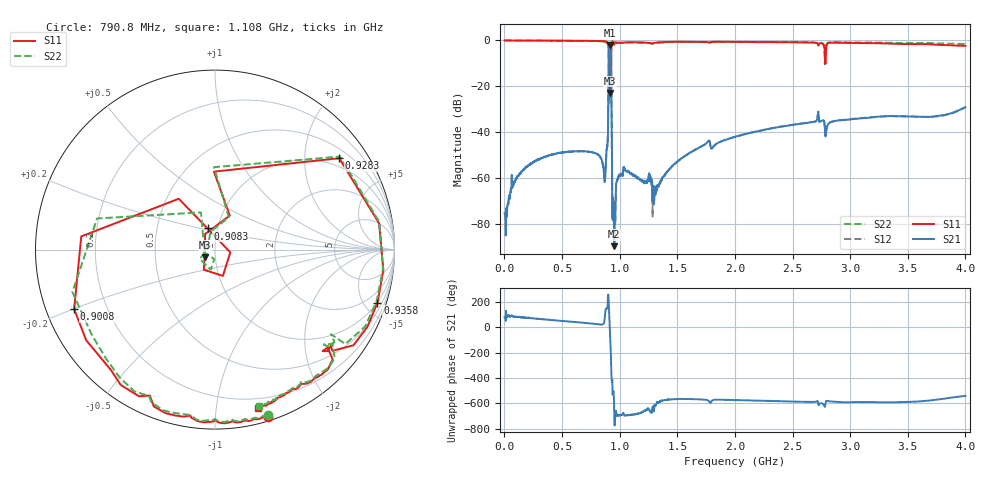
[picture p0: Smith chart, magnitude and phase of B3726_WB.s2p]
! Matrix data file written by TouchstoneData, EPCOS AG
! FILENAME: "B3726_WB.s2p"
! COMMENT: "PCB:2022 PIN:2/5 PORTEXT1:87.4 PORTEXT2:173."
! INFO: nport=2, nfreq=1601
! DATE: "Tue Dec 30 11:03:50 2008"
! USER: "Sergey Rostovtsev"
! port | pin | signal
!  1  |  2  |  in
!  2  |  5  |  out
# MHZ S MA R 50
! freq  magS11 angS11  magS21 angS21  magS12 angS12  magS22 angS22
!1.000000E+00  9.999882E-01 -9.369029E-02  2.588622E-02 1.196022E+01  2.554484E-02 1.219012E+01  1.003851E+00 -4.459481E-02
!3.499375E+00  1.000496E+00 -3.696470E-01  1.625159E-04 -5.556573E+00  1.659473E-04 -7.625253E+00  9.998649E-01 -3.415912E-01
!5.998750E+00  1.000496E+00 -6.066440E-01  1.120306E-05 -1.874271E+00  9.210822E-06 -3.625380E+01  1.000393E+00 -6.326915E-01
!8.498125E+00  9.994526E-01 -8.148454E-01  1.743931E-04 7.797031E+01  1.704065E-04 8.154558E+01  9.995445E-01 -8.341599E-01
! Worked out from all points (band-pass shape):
!   1601 points, 1 MHz to 4 GHz, reference 50 ohm
!   highest |S21| = -1.99 dB at 915.8 MHz (marker M1); lowest = -89.5 dB at 953.3 MHz (marker M2)
!   |S21| within 3 dB of the highest: 906.8 MHz to 924.4 MHz (17.63 MHz wide, 1.93 % of centre)
!   lowest |S11| = -22.8 dB at 918.3 MHz (marker M3), VSWR 1.16, Z = 44.4 - j3.88 ohm
!   |S11| at or under -10 dB: 906 MHz to 924.7 MHz (18.69 MHz wide, 2.04 % of centre); 2.785084 GHz to 2.785463 GHz (379.1 kHz wide, 0.0136 % of centre)
!   |S22| runs from -27.4 to 0.0 dB; largest |S21 - S12| = 0.0077
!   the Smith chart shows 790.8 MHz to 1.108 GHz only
!   S11 on the Smith chart (normalised r, x): 790.8 MHz: 0.03, -1.36; 900.8 MHz: 0.08, -0.20; 908.3 MHz: 0.90, +0.21; 928.3 MHz: 0.74, +2.88; 935.8 MHz: 0.96, -6.13; 1.108 GHz: 0.12, -1.30
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1  0.9995 -0.8  0.0001744 78.0  0.0001704 81.5  0.9995 -0.8
75.98125  0.998 -7.0  0.0006867 84.6  0.0006763 84.0  0.9984 -7.0
193.4519  0.9941 -17.6  0.001761 74.8  0.00175 75.0  0.9937 -17.3
668.3331  0.983 -59.1  0.003895 35.8  0.003874 35.8  0.9789 -58.6
790.8025  0.9759 -72.5  0.003496 24.8  0.003489 24.7  0.969 -72.3
873.2819  0.9456 -98.0  0.001004 108.5  0.0009942 107.7  0.9333 -98.4
900.775  0.8519 -157.1  0.04985 -103.7  0.04905 -103.5  0.8289 -163.4
908.2731  0.1248 109.4  0.7247 93.7  0.7234 94.2  0.06041 -164.5
915.7713  0.1282 -119.0  0.7953 -52.3  0.7939 -52.0  0.09951 -148.2
918.2706  0.07247 -143.1  0.7585 -98.6  0.7575 -98.2  0.0427 174.5
928.2681  0.8593 36.3  0.07805 -27.2  0.07907 -26.8  0.8692 36.6
935.7663  0.9525 -18.1  0.0002142 -55.6  0.0002205 -55.5  0.9458 -17.9
953.2619  0.8317 -41.0  3.338e-05 -12.6  6.291e-05 -92.8  0.8392 -38.7
990.7525  0.8899 -60.9  0.001071 22.3  0.00107 22.2  0.8842 -60.3
1108.223  0.9132 -74.7  0.001226 31.8  0.00122 31.7  0.9035 -74.4
1335.666  0.9082 -85.0  0.0006557 122.8  0.0006536 122.4  0.8975 -85.6
1588.103  0.9364 -98.2  0.003349 154.7  0.003315 154.5  0.9276 -99.8
2000.5  0.9295 -113.6  0.008009 146.2  0.007942 147.2  0.9271 -117.0
2667.833  0.8985 -137.5  0.01671 131.4  0.01674 132.0  0.9114 -141.6
2795.301  0.7666 -115.9  0.01212 140.6  0.01226 141.6  0.8371 -124.4
3335.166  0.8558 -157.4  0.02261 128.1  0.02261 127.4  0.8895 -156.3
4000  0.7611 170.8  0.03549 179.1  0.03526 178.4  0.8384 -179.3
